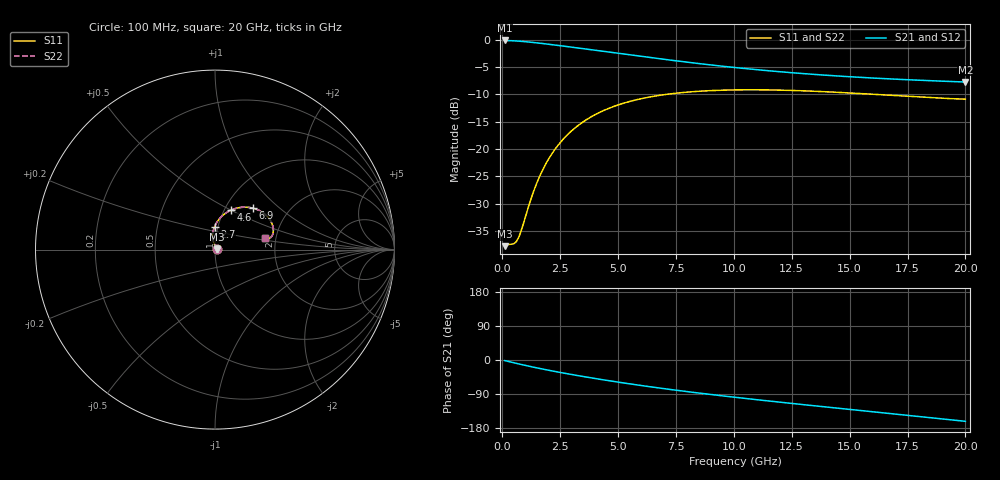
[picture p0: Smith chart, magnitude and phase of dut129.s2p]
! Touchstone file exported from HFSS 2023.1.0
!  File:  D:/Users/fzz/RDL_TSV/temp_RDL_TSV_129_1778751139.aedt
!  Generated:  5:43:29 %x4E0B%x5348  5%x6708 14, 2026
!  Design:  RDL_TSV
!  Project:  temp_RDL_TSV_129_1778751139
!  Setup:  Setup1
!  Solution:  Sweep
! Variables:
!  dtsv = 12.77um
!  hbump = 3um
!  htsv = 50.39um
!  ldown = 567.62um
!  lrdl = 186.29um
!  p = 40
!  p1 = 49.75um
!  rhole = 10um
!  subl = 2448.02um
!  t = 450um
!  tdown = 4.46um
!  trdl = 3.21um
!  viad = 10um
!  wdown = 14.62um
!  wrdl = 27.18um
!  xbump = 18um
# GHz S MA R 50.000000
! Terminal data exported
! Port[1] = TM1_1_T1
! Port[2] = TM1_4_T1
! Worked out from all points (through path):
!   200 points, 100 MHz to 20 GHz, reference 50 ohm
!   highest |S21| = -0.12 dB at 100 MHz (marker M1); lowest = -7.7 dB at 20 GHz (marker M2)
!   group delay of S21, straight-line fit = 21.1 ps
!   lowest |S11| = -37.8 dB at 100 MHz (marker M3), VSWR 1.03, Z = 51.3 + j0.21 ohm
!   |S11| at or under -10 dB: start of sweep to 7.06 GHz; 16.12 GHz to end of sweep
!   |S22| runs from -37.8 to -9.1 dB; largest |S21 - S12| = 8.5e-15
!   S11 on the Smith chart (normalised r, x): 100 MHz: 1.03, +0.00; 2.7 GHz: 0.96, +0.25; 4.6 GHz: 1.07, +0.50; 6.9 GHz: 1.34, +0.68; 20 GHz: 1.75, +0.24
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0.1  0.01292 9.1  0.9868 -1.5  0.9868 -1.5  0.01292 9.1
! Gamma 0 0 0 0
! Port Impedance 50 0 50 0
0.5  0.01361 42.7  0.979 -7.4  0.979 -7.4  0.01361 42.8
0.6  0.01416 53.8  0.9762 -8.8  0.9762 -8.8  0.01416 53.9
0.7  0.01539 65.2  0.9729 -10.2  0.9729 -10.2  0.01539 65.2
0.8  0.01745 75.5  0.9694 -11.6  0.9694 -11.6  0.01746 75.5
1.3  0.03815 99.5  0.9477 -18.3  0.9477 -18.3  0.03817 99.5
1.5  0.04947 101.2  0.9377 -20.9  0.9377 -20.9  0.0495 101.2
1.7  0.06172 101.0  0.9273 -23.4  0.9273 -23.4  0.06176 101.0
1.9  0.07459 99.8  0.9166 -25.9  0.9166 -25.9  0.07463 99.8
2.2  0.09448 96.9  0.9004 -29.4  0.9004 -29.4  0.09454 96.9
2.7  0.1278 91.0  0.8731 -35.1  0.8731 -35.1  0.1279 91.0
3.5  0.178 80.9  0.8301 -43.7  0.8301 -43.7  0.1781 80.9
4.6  0.2359 68.2  0.7732 -54.6  0.7732 -54.6  0.236 68.3
5.6  0.2762 58.3  0.7245 -63.9  0.7245 -63.9  0.2764 58.4
6.8  0.3106 48.3  0.671 -74.1  0.671 -74.1  0.3109 48.3
6.9  0.3128 47.5  0.6668 -74.9  0.6668 -74.9  0.3131 47.6
8.4  0.3372 37.5  0.6093 -86.6  0.6093 -86.6  0.3376 37.5
10.1  0.3482 28.5  0.5562 -98.7  0.5562 -98.7  0.3487 28.5
11.7  0.3474 22.0  0.5165 -109.4  0.5165 -109.4  0.3481 22.0
13.4  0.3388 16.9  0.4836 -120.3  0.4836 -120.3  0.3396 16.9
16.7  0.3109 11.7  0.4392 -141.0  0.4392 -141.0  0.312 11.7
20  0.2862 12.9  0.4108 -161.8  0.4108 -161.8  0.2874 12.8
